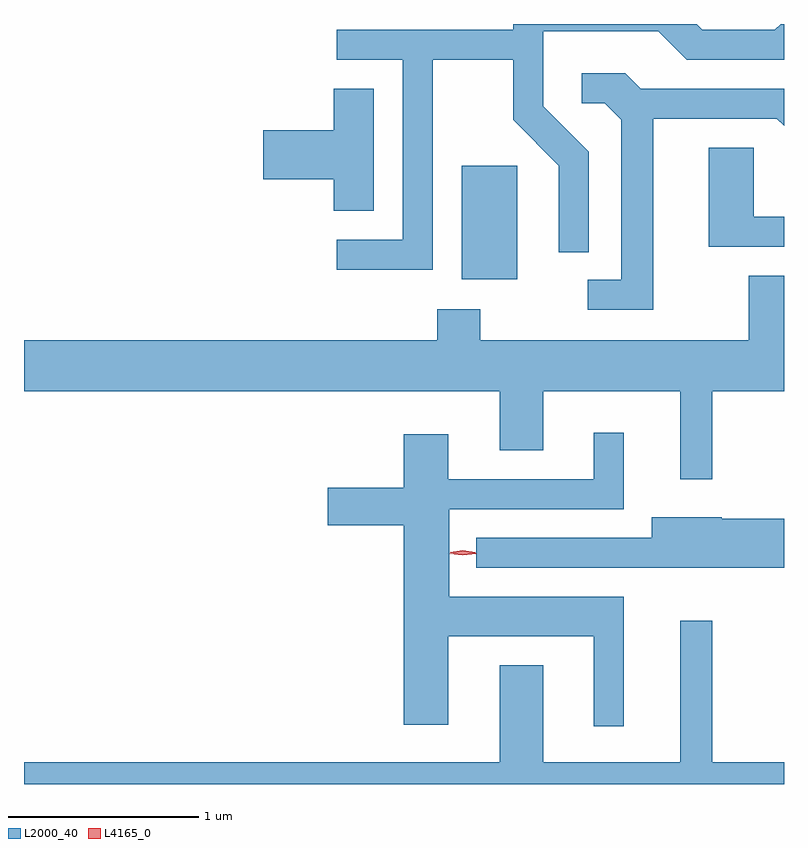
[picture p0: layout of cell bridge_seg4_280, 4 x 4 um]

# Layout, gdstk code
import gdstk
lib = gdstk.Library(unit=1e-6, precision=1e-09)
def R(c, l, rs):  # rectangles x0, y0, x1, y1
    for r in rs: c.add(gdstk.rectangle(r[:2], r[2:], *l))
def P(c, l, *ps):  # polygons
    for p in ps: c.add(gdstk.Polygon(p, *l))
L2000_40 = (2000, 40)
L4165_0 = (4165, 0)

bridge_seg4_280 = lib.new_cell('bridge_seg4_280')
R(bridge_seg4_280, L2000_40, [(401.711,1344.166,402.004,1344.764)])
P(bridge_seg4_280, L2000_40, [(401.559,1345.321),(401.981,1345.321),(401.981,1345.004),(402.221,1344.764),(402.221,1344.308),(402.379,1344.308),(402.379,1344.837),(402.139,1345.077),(402.139,1345.471),(402.744,1345.471),(402.894,1345.321),(403.407,1345.321),(403.407,1345.509),(403.389,1345.509),(403.359,1345.479),(402.977,1345.479),(402.947,1345.509),(401.981,1345.509),(401.981,1345.479),(401.053,1345.479),(401.053,1345.321),(401.401,1345.321),(401.401,1344.374),(401.053,1344.374),(401.053,1344.216),(401.559,1344.216)],
  [(402.719,1345.011),(403.369,1345.011),(403.407,1344.973),(403.407,1345.169),(402.652,1345.169),(402.572,1345.249),(402.343,1345.249),(402.343,1345.091),(402.464,1345.091),(402.551,1345.004),(402.551,1344.164),(402.373,1344.164),(402.373,1344.006),(402.719,1344.006)],
  [(401.249,1345.169),(401.036,1345.169),(401.036,1344.949),(400.666,1344.949),(400.666,1344.691),(401.036,1344.691),(401.036,1344.526),(401.249,1344.526)],
  [(403.407,1344.494),(403.249,1344.494),(403.249,1344.859),(403.011,1344.859),(403.011,1344.336),(403.407,1344.336)],
  [(403.029,1343.576),(403.407,1343.576),(403.407,1344.184),(403.221,1344.184),(403.221,1343.844),(401.809,1343.844),(401.809,1344.009),(401.581,1344.009),(401.581,1343.844),(399.407,1343.844),(399.407,1343.576),(401.911,1343.576),(401.911,1343.266),(402.139,1343.266),(402.139,1343.576),(402.861,1343.576),(402.861,1343.113),(403.029,1343.113)],
  [(402.564,1342.494),(401.644,1342.494),(401.644,1342.956),(402.564,1342.956),(402.564,1343.358),(402.406,1343.358),(402.406,1343.114),(401.639,1343.114),(401.639,1343.349),(401.406,1343.349),(401.406,1343.069),(401.006,1343.069),(401.006,1342.871),(401.406,1342.871),(401.406,1341.821),(401.639,1341.821),(401.639,1342.286),(402.406,1342.286),(402.406,1341.813),(402.564,1341.813)],
  [(403.407,1342.904),(403.08,1342.904),(403.08,1342.914),(402.711,1342.914),(402.711,1342.804),(401.788,1342.804),(401.788,1342.646),(403.407,1342.646)],
  [(403.407,1341.624),(403.029,1341.624),(403.029,1342.368),(402.861,1342.368),(402.861,1341.624),(402.139,1341.624),(402.139,1342.134),(401.911,1342.134),(401.911,1341.624),(399.407,1341.624),(399.407,1341.509),(403.407,1341.509)])
P(bridge_seg4_280, L4165_0, [(401.717,1342.712),(401.648,1342.722),(401.647,1342.722),(401.648,1342.722),(401.716,1342.732),(401.786,1342.723),(401.786,1342.722),(401.786,1342.722)],
  [(401.717,1342.718),(401.651,1342.727),(401.651,1342.728),(401.651,1342.728),(401.717,1342.738),(401.782,1342.728),(401.783,1342.728),(401.782,1342.727)])

lib.write_gds('bridge_seg4_280.gds')
